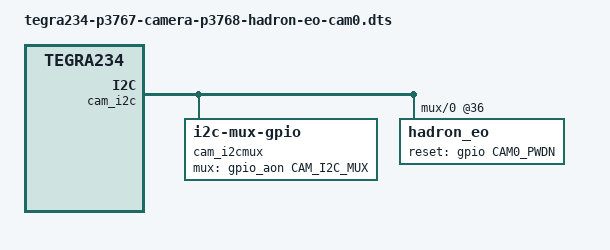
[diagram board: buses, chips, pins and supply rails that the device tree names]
// SPDX-License-Identifier: GPL-2.0-only
// SPDX-FileCopyrightText: Copyright (c) 2026, ARK Electronics.

/*
 * FLIR Hadron EO (OV64B40) on PAB_V3 CAM0 (J28), 4-lane:
 * CSI0_CLK with CSI0_D0/D1 then CSI1_D0/D1.
 * I2C mux channel 0, reset CAM0_PWDN (PH.06),
 * EXT_VSYNC on CAM0_MCLK (PP.00).
 */

/dts-v1/;
/plugin/;

#define CAM0_PWDN	TEGRA234_MAIN_GPIO(H, 6)
#define CAM_I2C_MUX	TEGRA234_AON_GPIO(CC, 3)

#define HADRON_EO_PORT_INDEX	0
#define HADRON_EO_LANES		4
#define HADRON_EO_SINTERFACE	"serial_a"
#define HADRON_EO_LANE_POLARITY	"6"
#define HADRON_EO_SENSOR_SYSFS	"/sys/firmware/devicetree/base/bus@0/cam_i2cmux/i2c@0/hadron_eo@36"
#define HADRON_EO_SYNC_PAD	"extperiph1_clk_pp0"

#include <dt-bindings/tegra234-p3767-0000-common.h>
#include "tegra234-camera-hadron-eo.dtsi"

/ {
	overlay-name = "Camera FLIR Hadron EO CAM0 4-lane";
	jetson-header-name = "Jetson 22pin CSI Connector";
	compatible = JETSON_COMPATIBLE_P3768;

	fragment-hadron-eo-i2c@0 {
		target-path = "/";
		__overlay__ {
			bus@0 {
				cam_i2cmux {
					status = "okay";
					compatible = "i2c-mux-gpio";
					#address-cells = <1>;
					#size-cells = <0>;
					i2c-parent = <&cam_i2c>;
					mux-gpios = <&gpio_aon CAM_I2C_MUX GPIO_ACTIVE_HIGH>;
					i2c@0 {
						status = "okay";
						reg = <0>;
						#address-cells = <1>;
						#size-cells = <0>;
						/* the flash-time IMX219 default */
						rbpcv2_imx219_a@10 {
							status = "disabled";
						};
						hadron_eo@36 {
							status = "okay";
							reset-gpios = <&gpio CAM0_PWDN GPIO_ACTIVE_HIGH>;
#include "tegra234-camera-hadron-eo-sensor.dtsi"
						};
					};
					i2c@1 {
						status = "okay";
						reg = <1>;
						#address-cells = <1>;
						#size-cells = <0>;
						rbpcv2_imx219_c@10 {
							status = "disabled";
						};
					};
				};
			};
		};
	};
};
